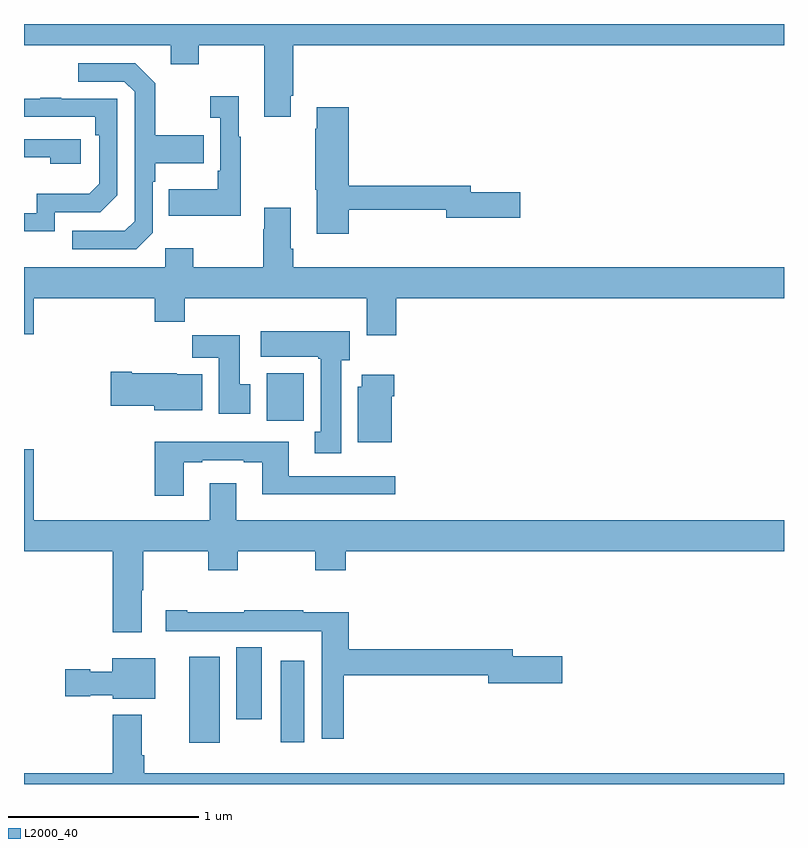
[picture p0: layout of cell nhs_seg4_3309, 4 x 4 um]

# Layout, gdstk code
import gdstk
lib = gdstk.Library(unit=1e-6, precision=1e-09)
def R(c, l, rs):  # rectangles x0, y0, x1, y1
    for r in rs: c.add(gdstk.rectangle(r[:2], r[2:], *l))
def P(c, l, *ps):  # polygons
    for p in ps: c.add(gdstk.Polygon(p, *l))
L2000_40 = (2000, 40)

nhs_seg4_3309 = lib.new_cell('nhs_seg4_3309')
R(nhs_seg4_3309, L2000_40, [(285.869,825.117,286.03,825.571), (286.352,825.12,286.474,825.55), (286.118,825.24,286.252,825.62), (286.277,826.812,286.473,827.062)])
P(nhs_seg4_3309, L2000_40, [(286.405,828.523),(286.418,828.523),(286.418,828.788),(289,828.788),(289,828.9),(285,828.9),(285,828.788),(285.773,828.788),(285.773,828.689),(285.921,828.689),(285.921,828.788),(286.265,828.788),(286.265,828.411),(286.405,828.411)],
  [(285.678,827.802),(285.678,828.071),(285.691,828.071),(285.691,828.167),(285.947,828.167),(285.947,828.315),(285.691,828.315),(285.691,828.587),(285.585,828.693),(285.285,828.693),(285.285,828.597),(285.528,828.597),(285.582,828.543),(285.582,827.862),(285.531,827.811),(285.255,827.811),(285.255,827.715),(285.591,827.715)],
  [(286.141,828.307),(286.129,828.307),(286.129,828.52),(285.981,828.52),(285.981,828.407),(286.032,828.407),(286.032,828.127),(286.02,828.127),(286.02,828.031),(285.763,828.031),(285.763,827.891),(286.141,827.891)],
  [(285.162,827.91),(285.402,827.91),(285.492,828),(285.492,828.507),(285.197,828.507),(285.197,828.512),(285.085,828.512),(285.085,828.507),(285,828.507),(285,828.411),(285.376,828.411),(285.376,828.314),(285.396,828.314),(285.396,828.06),(285.343,828.007),(285.066,828.007),(285.066,827.904),(285,827.904),(285,827.808),(285.162,827.808)],
  [(286.709,827.922),(287.222,827.922),(287.222,827.879),(287.611,827.879),(287.611,828.014),(287.35,828.014),(287.35,828.05),(286.709,828.05),(286.709,828.463),(286.541,828.463),(286.541,828.35),(286.534,828.35),(286.534,828.027),(286.541,828.027),(286.541,827.796),(286.709,827.796)],
  [(285.298,828.294),(285,828.294),(285,828.198),(285.137,828.198),(285.137,828.164),(285.298,828.164)],
  [(286.958,827.456),(289,827.456),(289,827.62),(286.418,827.62),(286.418,827.716),(286.405,827.716),(286.405,827.932),(286.265,827.932),(286.265,827.819),(286.258,827.819),(286.258,827.62),(285.891,827.62),(285.891,827.719),(285.744,827.719),(285.744,827.62),(285,827.62),(285,827.268),(285.052,827.268),(285.052,827.456),(285.689,827.456),(285.689,827.332),(285.845,827.332),(285.845,827.456),(286.805,827.456),(286.805,827.262),(286.958,827.262)],
  [(286.669,827.13),(286.714,827.13),(286.714,827.284),(286.245,827.284),(286.245,827.15),(286.549,827.15),(286.549,827.137),(286.562,827.137),(286.562,826.753),(286.529,826.753),(286.529,826.641),(286.669,826.641)],
  [(286.192,827.004),(286.135,827.004),(286.135,827.263),(285.886,827.263),(285.886,827.144),(286.025,827.144),(286.025,826.848),(286.192,826.848)],
  [(285.937,827.056),(285.804,827.056),(285.804,827.062),(285.568,827.062),(285.568,827.07),(285.456,827.07),(285.456,826.892),(285.686,826.892),(285.686,826.868),(285.937,826.868)],
  [(286.936,826.94),(286.949,826.94),(286.949,827.053),(286.778,827.053),(286.778,826.992),(286.757,826.992),(286.757,826.7),(286.936,826.7)],
  [(285.841,826.593),(285.937,826.593),(285.937,826.605),(286.157,826.605),(286.157,826.593),(286.253,826.593),(286.253,826.424),(286.954,826.424),(286.954,826.521),(286.393,826.521),(286.393,826.702),(285.689,826.702),(285.689,826.416),(285.841,826.416)],
  [(285.619,825.92),(285.627,825.92),(285.627,826.124),(285.97,826.124),(285.97,826.025),(286.125,826.025),(286.125,826.124),(286.534,826.124),(286.534,826.025),(286.694,826.025),(286.694,826.124),(289,826.124),(289,826.288),(286.117,826.288),(286.117,826.483),(285.977,826.483),(285.977,826.288),(285.052,826.288),(285.052,826.663),(285,826.663),(285,826.124),(285.467,826.124),(285.467,825.699),(285.619,825.699)],
  [(286.682,825.472),(287.444,825.472),(287.444,825.43),(287.833,825.43),(287.833,825.572),(287.572,825.572),(287.572,825.608),(286.709,825.608),(286.709,825.804),(286.469,825.804),(286.469,825.814),(286.159,825.814),(286.159,825.804),(285.859,825.804),(285.859,825.814),(285.747,825.814),(285.747,825.704),(286.022,825.704),(286.022,825.705),(286.356,825.705),(286.356,825.704),(286.566,825.704),(286.566,825.138),(286.682,825.138)],
  [(285.691,825.562),(285.464,825.562),(285.464,825.49),(285.348,825.49),(285.348,825.503),(285.216,825.503),(285.216,825.361),(285.348,825.361),(285.348,825.368),(285.468,825.368),(285.468,825.35),(285.691,825.35)],
  [(285.467,825.265),(285.467,824.956),(285,824.956),(285,824.9),(289,824.9),(289,824.956),(285.632,824.956),(285.632,825.052),(285.619,825.052),(285.619,825.265)])

lib.write_gds('nhs_seg4_3309.gds')
